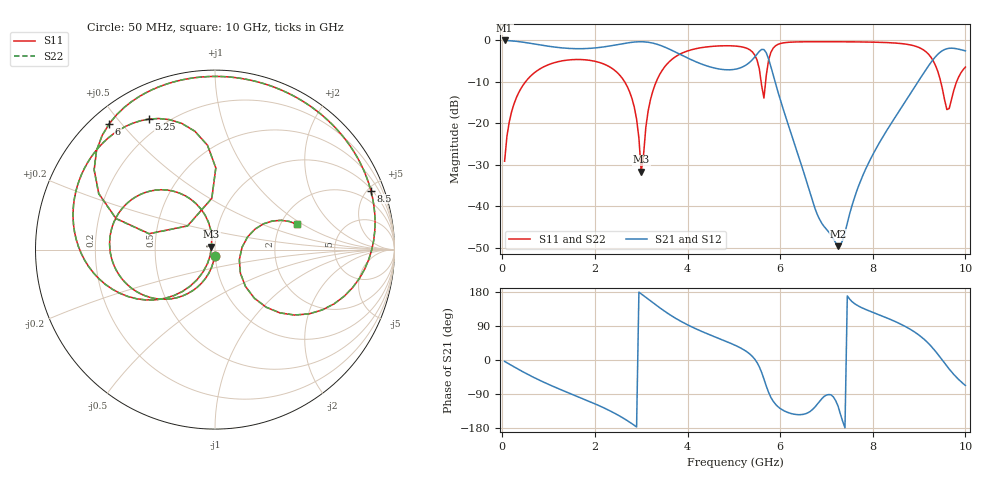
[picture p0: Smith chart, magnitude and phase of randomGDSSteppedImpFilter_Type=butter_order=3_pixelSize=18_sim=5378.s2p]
! freq	dB(S11)	phase(S11)	dB(S12)	phase(S12)
!  dB(S21)	phase(S21)	dB(S22)	phase(S22)
!S-par simulation data
#  GHz  S  DB  R 50
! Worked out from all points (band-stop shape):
!   200 points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, 50 MHz to 10 GHz, reference 50 ohm
!   highest |S21| = -0.01 dB at 50 MHz (marker M1); lowest = -49.6 dB at 7.25 GHz (marker M2)
!   |S21| within 3 dB of the highest: start of sweep to 3.775 GHz; 9.438 GHz to end of sweep (the widest 2 of 3)
!   lowest |S11| = -31.6 dB at 3 GHz (marker M3), VSWR 1.05, Z = 48 + j1.57 ohm
!   |S11| at or under -10 dB: start of sweep to 499.2 MHz; 2.643 GHz to 3.323 GHz (680.2 MHz wide, 22.8 % of centre); 9.468 GHz to 9.81 GHz (341.7 MHz wide, 3.55 % of centre) (the widest 3 of 4)
!   |S22| runs from -31.8 to -0.3 dB; largest |S21 - S12| = 0
!   S11 on the Smith chart (normalised r, x): 50 MHz: 0.99, -0.07; 5.25 GHz: 0.14, +0.61; 6 GHz: 0.05, +0.47; 8.5 GHz: 1.10, +5.24; 10 GHz: 2.44, +0.90
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0.05  -29.11 -93.8  -0.01 -3.6  -0.01 -3.6  -29.11 -93.8
0.5  -9.99 -125.2  -0.51 -34.7  -0.51 -34.7  -9.99 -125.2
1.75  -4.64 167.1  -1.98 -102.7  -1.98 -102.7  -4.64 167.1
2.7  -11.14 112.4  -0.60 -160.1  -0.60 -160.1  -11.15 112.4
2.9  -18.98 102.2  -0.35 -176.6  -0.35 -176.6  -18.99 102.0
3  -31.63 141.4  -0.32 174.5  -0.32 174.5  -31.76 141.0
3.15  -16.97 -118.3  -0.44 160.7  -0.44 160.7  -16.97 -118.1
3.4  -8.19 -135.8  -1.14 137.8  -1.14 137.8  -8.19 -135.7
4.15  -2.06 172.9  -5.00 84.0  -5.00 84.0  -2.06 172.9
5.05  -1.37 128.7  -6.90 37.6  -6.90 37.6  -1.37 128.7
5.25  -1.78 116.8  -6.02 24.3  -6.02 24.3  -1.78 116.9
5.55  -6.84 89.4  -2.64 -18.0  -2.64 -18.0  -6.84 89.4
5.65  -13.89 139.2  -2.19 -50.2  -2.19 -50.2  -13.92 139.3
5.7  -8.45 166.4  -2.98 -68.7  -2.98 -68.7  -8.46 166.6
6  -0.76 130.0  -14.18 -127.8  -14.18 -127.8  -0.76 130.1
6.7  -0.31 94.1  -38.67 -130.4  -38.67 -130.4  -0.31 94.1
7.25  -0.32 73.3  -49.59 -121.5  -49.59 -121.5  -0.32 73.3
8.35  -0.54 28.2  -20.84 108.6  -20.84 108.6  -0.54 28.3
8.5  -0.64 20.8  -18.23 100.6  -18.23 100.6  -0.64 20.8
9.25  -3.95 -34.4  -5.40 37.8  -5.40 37.8  -3.95 -34.3
9.6  -16.66 -22.6  -2.00 -16.1  -2.00 -16.1  -16.67 -22.6
10  -6.43 17.3  -2.51 -67.2  -2.51 -67.2  -6.43 17.3
